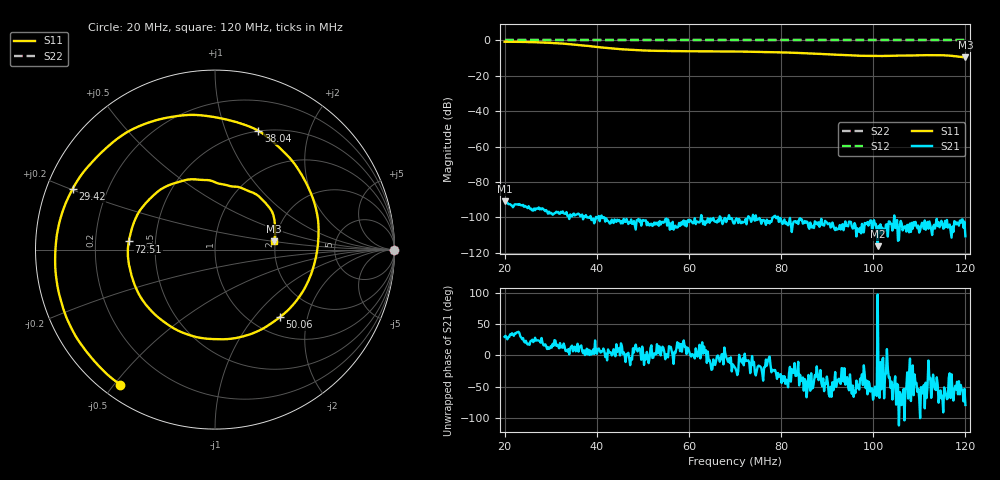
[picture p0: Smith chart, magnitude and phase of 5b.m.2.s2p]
! Anritsu VNA Master:  Model: MS2036C/10/77
! SN:  1601066
! /card0/usr/18may27.balun/5b.m2.s2p
! Existing Calibration Information:
! TYPE:  Current Settings,  Active Cal Settings
! TIME:  05/27/2018 03:40:13 PM,  05/27/2018 03:21:57 PM
! INTERNAL TEMP:  53.5 C,  52.3 C
! # POINTS:  500,  500
! START FREQ:  20.000 MHz,  20.000 MHz
! STOP FREQ:  120.000 MHz,  120.000 MHz
! SOURCE POWER:  High,  High
! IFBW:  50 Hz,  50 Hz
! AVG FACTOR:  1 ,  1
! REF PLANE 1:  0 mm,  0 mm
! REF PLANE 2:  0 mm,  0 mm
! CAL TYPE:  Full S11,  Full S11
! CAL METHOD:  SOLT,  SOLT
! CAL LINE TYPE:  Coax,  Coax
! DUT PORT 1:  K-Conn(M),  K-Conn(M)
! DUT PORT 2:  K-Conn(M),  K-Conn(M)
! CAL STATUS:  OK: Accuracy High,  --
# GHZ S DB R 50.0
! FREQ.GHZ  S11DB  S11A  S21DB  S21A  S12DB  S12A  S22DB  S22A
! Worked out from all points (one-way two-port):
!   500 points, 20 MHz to 120 MHz, reference 50 ohm
!   highest |S21| = -90.83 dB at 20 MHz (marker M1); lowest = -116.2 dB at 101 MHz (marker M2)
!   lowest |S11| = -9.6 dB at 120 MHz (marker M3), VSWR 1.99, Z = 98.3 + j10.3 ohm
!   |S11| at or under -10 dB: nowhere
!   |S22| runs from 0.0 to 0.0 dB; largest |S21 - S12| = 1
!   S11 on the Smith chart (normalised r, x): 20 MHz: 0.05, -0.52; 29.42 MHz: 0.08, +0.20; 38.04 MHz: 0.50, +1.31; 50.06 MHz: 1.33, -1.37; 72.51 MHz: 0.35, +0.04; 120 MHz: 1.97, +0.21
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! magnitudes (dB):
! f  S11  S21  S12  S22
! 20 MHz  -0.7  -90.8  0.0  0.0
! 24.21 MHz  -0.8  -94.0  0.0  0.0
! 29.42 MHz  -1.3  -97.9  0.0  0.0
! 32.83 MHz  -1.8  -97.7  0.0  0.0
! 36.83 MHz  -2.8  -98.4  0.0  0.0
! 38.04 MHz  -3.0  -100.1  0.0  0.0
! 41.24 MHz  -4.0  -100.4  0.0  0.0
! 45.05 MHz  -4.9  -102.1  0.0  0.0
! 50.06 MHz  -5.6  -101.4  0.0  0.0
! 53.47 MHz  -5.9  -104.7  0.0  0.0
! 55.87 MHz  -6.0  -106.9  0.0  0.0
! 70.1 MHz  -6.3  -101.6  0.0  0.0
! 72.51 MHz  -6.3  -103.9  0.0  0.0
! 82.53 MHz  -6.9  -104.1  0.0  0.0
! 86.73 MHz  -7.4  -105.7  0.0  0.0
! 97.15 MHz  -8.7  -105.9  0.0  0.0
! 101 MHz  -8.8  -116.2  0.0  0.0
! 103.4 MHz  -8.7  -102.3  0.0  0.0
! 110.6 MHz  -8.3  -103.0  0.0  0.0
! 114.8 MHz  -8.3  -101.9  0.0  0.0
! 116.4 MHz  -8.5  -105.0  0.0  0.0
! 120 MHz  -9.6  -110.6  0.0  0.0
